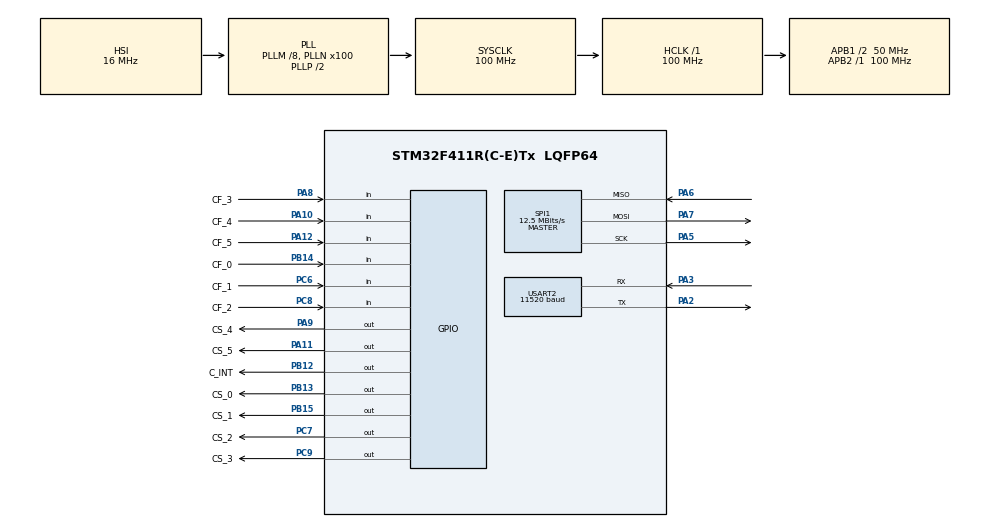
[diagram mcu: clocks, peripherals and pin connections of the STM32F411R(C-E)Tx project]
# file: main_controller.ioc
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Dma.Request0=USART2_RX
Dma.USART2_RX.0.Direction=DMA_PERIPH_TO_MEMORY
Dma.USART2_RX.0.FIFOMode=DMA_FIFOMODE_ENABLE
Dma.USART2_RX.0.FIFOThreshold=DMA_FIFO_THRESHOLD_FULL
Dma.USART2_RX.0.Instance=DMA1_Stream5
Dma.USART2_RX.0.MemBurst=DMA_MBURST_SINGLE
Dma.USART2_RX.0.MemDataAlignment=DMA_MDATAALIGN_BYTE
Dma.USART2_RX.0.MemInc=DMA_MINC_ENABLE
Dma.USART2_RX.0.Mode=DMA_CIRCULAR
Dma.USART2_RX.0.PeriphBurst=DMA_PBURST_SINGLE
Dma.USART2_RX.0.PeriphDataAlignment=DMA_PDATAALIGN_BYTE
Dma.USART2_RX.0.PeriphInc=DMA_PINC_DISABLE
Dma.USART2_RX.0.Priority=DMA_PRIORITY_LOW
Mcu.Family=STM32F4
Mcu.Name=STM32F411R(C-E)Tx
Mcu.Package=LQFP64
NVIC.DMA1_Stream5_IRQn=true\:0\:0\:false\:false\:true\:false\:true\:true
NVIC.PriorityGroup=NVIC_PRIORITYGROUP_4
NVIC.SPI1_IRQn=true\:0\:0\:false\:false\:true\:true\:true\:true
NVIC.USART2_IRQn=true\:0\:0\:false\:false\:true\:true\:true\:true
PA10.GPIO_Label=CF_4
PA10.Signal=GPIO_Input
PA11.GPIO_Label=CS_5
PA11.Signal=GPIO_Output
PA12.GPIO_Label=CF_5
PA12.Signal=GPIO_Input
PA2.GPIO_ModeDefaultPP=GPIO_MODE_AF_PP
PA2.GPIO_PuPd=GPIO_NOPULL
PA2.Mode=Asynchronous
PA2.Signal=USART2_TX
PA3.GPIO_ModeDefaultPP=GPIO_MODE_AF_PP
PA3.GPIO_PuPd=GPIO_NOPULL
PA3.Mode=Asynchronous
PA3.Signal=USART2_RX
PA5.Mode=Full_Duplex_Master
PA5.Signal=SPI1_SCK
PA6.Mode=Full_Duplex_Master
PA6.Signal=SPI1_MISO
PA7.Mode=Full_Duplex_Master
PA7.Signal=SPI1_MOSI
PA8.GPIO_Label=CF_3
PA8.Signal=GPIO_Input
PA9.GPIO_Label=CS_4
PA9.Signal=GPIO_Output
PB12.GPIO_Label=C_INT
PB12.Signal=GPIO_Output
PB13.GPIO_Label=CS_0
PB13.Signal=GPIO_Output
PB14.GPIO_Label=CF_0
PB14.Signal=GPIO_Input
PB15.GPIO_Label=CS_1
PB15.Signal=GPIO_Output
PC6.GPIO_Label=CF_1
PC6.Signal=GPIO_Input
PC7.GPIO_Label=CS_2
PC7.Signal=GPIO_Output
PC8.GPIO_Label=CF_2
PC8.Signal=GPIO_Input
PC9.GPIO_Label=CS_3
PC9.Signal=GPIO_Output
ProjectManager.HeapSize=0x200
ProjectManager.StackSize=0x400
ProjectManager.TargetToolchain=STM32CubeIDE
RCC.48MHZClocksFreq_Value=50000000
RCC.AHBFreq_Value=100000000
RCC.APB1CLKDivider=RCC_HCLK_DIV2
RCC.APB1Freq_Value=50000000
RCC.APB1TimFreq_Value=100000000
RCC.APB2Freq_Value=100000000
RCC.APB2TimFreq_Value=100000000
RCC.CortexFreq_Value=100000000
RCC.HCLKFreq_Value=100000000
RCC.HSE_VALUE=25000000
RCC.HSI_VALUE=16000000
RCC.LSE_VALUE=32768
RCC.PLLM=8
RCC.PLLN=100
RCC.SYSCLKFreq_VALUE=100000000
RCC.SYSCLKSource=RCC_SYSCLKSOURCE_PLLCLK
RCC.VCOOutputFreq_Value=200000000
SPI1.BaudRatePrescaler=SPI_BAUDRATEPRESCALER_8
SPI1.CalculateBaudRate=12.5 MBits/s
SPI1.Direction=SPI_DIRECTION_2LINES
SPI1.Mode=SPI_MODE_MASTER
SPI1.VirtualType=VM_MASTER
USART2.BaudRate=11520
USART2.OverSampling=UART_OVERSAMPLING_16
USART2.StopBits=STOPBITS_1
USART2.VirtualMode=VM_ASYNC
board=custom

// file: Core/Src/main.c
/* USER CODE BEGIN Header */
/**
  ******************************************************************************
  * @file           : main.c
  * @brief          : Main program body
  ******************************************************************************
  * @attention
  *
  * Copyright (c) 2022 STMicroelectronics.
  * All rights reserved.
  *
  * This software is licensed under terms that can be found in the LICENSE file
  * in the root directory of this software component.
  * If no LICENSE file comes with this software, it is provided AS-IS.
  *
  ******************************************************************************
  */
/* USER CODE END Header */
#include "main.h"
#include "dma.h"
#include "spi.h"
#include "usart.h"
#include "gpio.h"

/* USER CODE BEGIN Includes */
#include <stdlib.h>
#include <string.h>

#include "uart_buffer.h"
#include "crc.h"
/* USER CODE END Includes */

/* USER CODE BEGIN PV */
//uint8_t RX_data[896];  // 32 instructions
ibuf_TypeDef* RX_buffer;
/* USER CODE END PV */

void SystemClock_Config(void);
/* USER CODE BEGIN PFP */
uint8_t validate_handshake(void* data) {
	return ((CTRL_Handshake*)data)->crc == crc16_dnp(data, offsetof(CTRL_Handshake, crc));
}

uint8_t validate_MCU_Instruction(void* data) {
	return ((MCU_Instruction*)data)->crc == crc16_dnp(data, offsetof(MCU_Instruction, crc));
}
/* USER CODE END PFP */

int main(void)
{

	/* MCU Configuration--------------------------------------------------------*/

	/* Reset of all peripherals, Initializes the Flash interface and the Systick. */
	HAL_Init();

	/* Configure the system clock */
	SystemClock_Config();

	/* Initialize all configured peripherals */
	MX_GPIO_Init();
	MX_DMA_Init();
	MX_SPI1_Init();
	MX_USART2_UART_Init();
	/* USER CODE BEGIN 2 */
	RX_buffer = new_ibuf(&huart2, 1024);  // starts receiving
	// motor_count starts counting from 0
	uint8_t motor_count = 0;  // TODO: make code to find motor count
	{  // anonymous scope so that temporary variables are cleaned up
		uint32_t baud = 11520;  // default baud
		CTRL_Handshake init;  // TODO: remove the baud rate compontent. <<<<<<<<<<<<<<<<<<<<<<<<<<<<<<<<<<<<<<<<<<<<<<

		HANDSHAKE:  // jmp to label in the case baud is changed (redo handshake)

		while (ibuf_get_struct(
					RX_buffer,
					&init,
					sizeof(CTRL_Handshake),
					&validate_handshake
				) & (RETURN_OUT_OF_DATA | RETURN_STRUCT_INVALID)
			) {}

		init.motor_count = motor_count;  // set motor count and send message back
		init.crc = crc16_dnp(&init, offsetof(CTRL_Handshake, crc));
		HAL_UART_Transmit(&huart2, (uint8_t*)&init, sizeof(CTRL_Handshake), 10);

		if (init.init_0) {}  // TODO: move all motors to their 0 position
		if (init.baud != baud) {
			// TODO: set new baud and go back to handshake
			baud = init.baud;
			goto HANDSHAKE;
		}
	}
	/* USER CODE END 2 */

	/* Infinite loop */
	/* USER CODE BEGIN WHILE */
	// HAL_UART_Transmit(&huart2, (uint8_t*)&instruction, 28, 100);  // 10ms timeout is too little!!!!
	ibuf_reset(RX_buffer);
	MCU_Instruction instruction;
	MCU_State state;
	uint8_t return_code;

	instruction.target = 2000;
	instruction.max_vel = 1;
	instruction.max_acc = 1;
	instruction.micro_step = 3;
	instruction.srd_mode = 0;
	instruction.action = 0xf;  // all
	instruction.id = 0;
	instruction.instrution_id = 0;
	instruction.crc = crc16_dnp(&instruction, 30);

	uint8_t code = RETURN_STRUCT_INVALID;
	while (1) { LOOP:
		while (code & (RETURN_OUT_OF_DATA | RETURN_STRUCT_INVALID)) {
			code = ibuf_get_struct(
				RX_buffer,
				&instruction,
				sizeof(MCU_Instruction),
				&validate_MCU_Instruction
			);
		}
		HAL_UART_Transmit(&huart2, &code, 1, 10);

		uint32_t tickstart = HAL_GetTick();
		do {
			HAL_GPIO_WritePin(CS_0_GPIO_Port, CS_0_Pin, 0);
			HAL_SPI_TransmitReceive(&hspi1, (uint8_t*)&instruction, (uint8_t*)&state, 32, 100);
			HAL_GPIO_WritePin(CS_0_GPIO_Port, CS_0_Pin, 1);
			HAL_Delay(50);  // give mcu time to react
			if (HAL_GetTick() - tickstart > 5000) { goto LOOP; }
		} while (HAL_GPIO_ReadPin(CF_0_GPIO_Port, CF_0_Pin));
		HAL_GPIO_WritePin(C_INT_GPIO_Port, C_INT_Pin, 1);
		HAL_Delay(100);  // give mcu time to react
		HAL_GPIO_WritePin(C_INT_GPIO_Port, C_INT_Pin, 0);
		//HAL_UART_Transmit(&huart2, (uint8_t*)&state, 32, 100);
		// TODO: edit the action enum<<<<<<<<<<<<<<<<<<<<<<<<<<<<<<<<<<<<<<
    /* USER CODE END WHILE */

	}
}

void SystemClock_Config(void)
{
  RCC_OscInitTypeDef RCC_OscInitStruct = {0};
  RCC_ClkInitTypeDef RCC_ClkInitStruct = {0};

  /** Configure the main internal regulator output voltage
  */
  __HAL_RCC_PWR_CLK_ENABLE();
  __HAL_PWR_VOLTAGESCALING_CONFIG(PWR_REGULATOR_VOLTAGE_SCALE1);

  /** Initializes the RCC Oscillators according to the specified parameters
  * in the RCC_OscInitTypeDef structure.
  */
  RCC_OscInitStruct.OscillatorType = RCC_OSCILLATORTYPE_HSI;
  RCC_OscInitStruct.HSIState = RCC_HSI_ON;
  RCC_OscInitStruct.HSICalibrationValue = RCC_HSICALIBRATION_DEFAULT;
  RCC_OscInitStruct.PLL.PLLState = RCC_PLL_ON;
  RCC_OscInitStruct.PLL.PLLSource = RCC_PLLSOURCE_HSI;
  RCC_OscInitStruct.PLL.PLLM = 8;
  RCC_OscInitStruct.PLL.PLLN = 100;
  RCC_OscInitStruct.PLL.PLLP = RCC_PLLP_DIV2;
  RCC_OscInitStruct.PLL.PLLQ = 4;
  if (HAL_RCC_OscConfig(&RCC_OscInitStruct) != HAL_OK)
  {
    Error_Handler();
  }

  /** Initializes the CPU, AHB and APB buses clocks
  */
  RCC_ClkInitStruct.ClockType = RCC_CLOCKTYPE_HCLK|RCC_CLOCKTYPE_SYSCLK
                              |RCC_CLOCKTYPE_PCLK1|RCC_CLOCKTYPE_PCLK2;
  RCC_ClkInitStruct.SYSCLKSource = RCC_SYSCLKSOURCE_PLLCLK;
  RCC_ClkInitStruct.AHBCLKDivider = RCC_SYSCLK_DIV1;
  RCC_ClkInitStruct.APB1CLKDivider = RCC_HCLK_DIV2;
  RCC_ClkInitStruct.APB2CLKDivider = RCC_HCLK_DIV1;

  if (HAL_RCC_ClockConfig(&RCC_ClkInitStruct, FLASH_LATENCY_3) != HAL_OK)
  {
    Error_Handler();
  }
}

void Error_Handler(void)
{
  __disable_irq();
  while (1)
  {
  }
}
